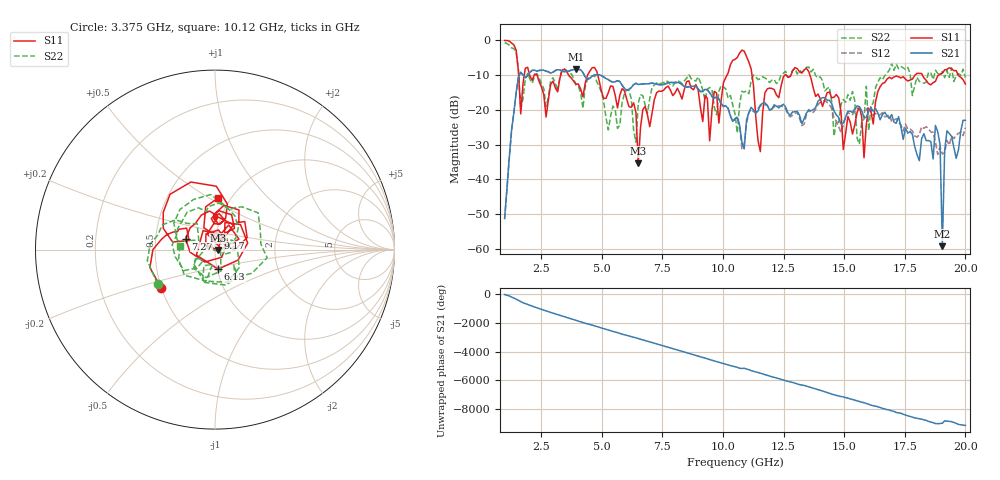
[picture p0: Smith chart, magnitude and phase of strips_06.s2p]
!Agilent Technologies,N5230A,MY45001629,A.07.50.67
!Agilent N5230A: A.07.50.67
!Date: Monday, June 05, 2017 16:30:54
!Correction: S11(Full 2 Port(1,2))
!S21(Full 2 Port(1,2))
!S12(Full 2 Port(1,2))
!S22(Full 2 Port(1,2))
!S2P File: Measurements: S11, S21, S12, S22:
# Hz S  dB  R 50
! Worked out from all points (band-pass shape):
!   201 points, 1 GHz to 20 GHz, reference 50 ohm
!   highest |S21| = -8.44 dB at 3.945 GHz (marker M1); lowest = -59.1 dB at 19.05 GHz (marker M2)
!   |S21| within 3 dB of the highest: 1.555 GHz to 5.278 GHz (3.723 GHz wide, 109 % of centre)
!   lowest |S11| = -35.4 dB at 6.51 GHz (marker M3), VSWR 1.03, Z = 51.7 - j0.164 ohm
!   |S11| at or under -10 dB: 4.835 GHz to 10.18 GHz (5.347 GHz wide, 71.2 % of centre); 11.2 GHz to 12.58 GHz (1.384 GHz wide, 11.6 % of centre); 13.58 GHz to 17.95 GHz (4.366 GHz wide, 27.7 % of centre)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
!   |S22| runs from -29.9 to -0.9 dB; largest |S21 - S12| = 0.033
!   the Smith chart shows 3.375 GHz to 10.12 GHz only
!   S11 on the Smith chart (normalised r, x): 3.375 GHz: 0.50, -0.25; 6.13 GHz: 1.01, -0.22; 7.27 GHz: 0.71, +0.09; 9.17 GHz: 1.02, +0.14; 10.12 GHz: 0.87, +0.55
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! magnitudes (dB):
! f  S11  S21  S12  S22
! 1 GHz  -0.2  -51.2  -51.2  -0.9
! 1.57 GHz  -9.0  -10.7  -10.7  -8.7
! 3.375 GHz  -8.7  -9.0  -9.0  -8.6
! 3.945 GHz  -12.7  -8.4  -8.4  -13.1
! 4.23 GHz  -16.3  -9.4  -9.4  -19.6
! 6.13 GHz  -19.2  -14.2  -14.3  -14.6
! 6.51 GHz  -35.4  -12.8  -12.7  -18.2
! 7.27 GHz  -15.1  -12.7  -12.7  -12.4
! 7.365 GHz  -14.7  -12.8  -12.9  -12.8
! 9.17 GHz  -23.4  -14.8  -14.9  -14.4
! 10.12 GHz  -10.8  -19.0  -18.9  -14.1
! 10.5 GHz  -5.7  -22.6  -22.8  -21.2
! 11.54 GHz  -32.0  -18.7  -18.9  -11.2
! 11.83 GHz  -14.1  -18.7  -18.8  -11.4
! 13.73 GHz  -13.9  -20.0  -20.8  -8.5
! 15.82 GHz  -33.8  -22.3  -20.3  -22.7
! 16.86 GHz  -10.7  -22.5  -21.4  -8.7
! 18.77 GHz  -11.9  -24.5  -29.3  -8.7
! 18.95 GHz  -9.8  -30.0  -30.7  -10.2
! 19.05 GHz  -9.6  -59.1  -32.7  -9.1
! 19.24 GHz  -8.5  -26.1  -28.8  -8.8
! 20 GHz  -12.7  -23.1  -25.2  -10.9
